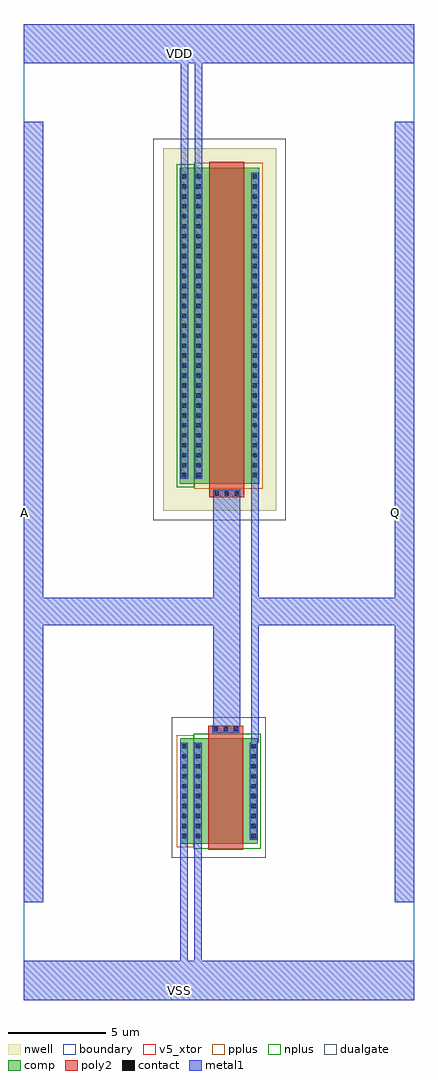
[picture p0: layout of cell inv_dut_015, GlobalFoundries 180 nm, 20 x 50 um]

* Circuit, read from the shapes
.subckt inv_dut_015 A Q VDD VSS
XM1 Q A VSS VSS nfet_05v0 w=5.4u l=1.8u
XM2 Q A VDD VDD pfet_05v0 w=16.2u l=1.8u
.ends

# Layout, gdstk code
from math import pi, radians
import gdstk
lib = gdstk.Library(unit=1e-6, precision=1e-09)
def R(c, l, rs):  # rectangles x0, y0, x1, y1
    for r in rs: c.add(gdstk.rectangle(r[:2], r[2:], *l))
def A(c, l, x, y, w, h, nx, ny, dx, dy):  # array of equal rectangles
    R(c, l, [(x+i*dx, y+j*dy, x+i*dx+w, y+j*dy+h) for i in range(nx) for j in range(ny)])
boundary = (0, 0)
nwell = (21, 0)
comp = (22, 0)
poly2 = (30, 0)
pplus = (31, 0)
nplus = (32, 0)
contact = (33, 0)
metal1 = (34, 0)
dualgate = (55, 0)
v5_xtor = (112, 1)

pfet = lib.new_cell('pfet')
R(pfet, nwell, [(-1.32,-1.37,4.47,17.19)])
R(pfet, comp, [(-0.46,0,3.61,16.2)])
R(pfet, poly2, [(0.31,-0.68,2.11,16.5)])
R(pfet, pplus, [(-0.63,-0.24,2.88,16.44)])
R(pfet, nplus, [(2.88,-0.17,3.78,16.37)])
A(pfet, contact, 0.59, -0.6, 0.22, 0.22, 3, 1, 0.51, 0)
A(pfet, contact, -0.34, 0.34, 0.22, 0.22, 1, 31, 0, 0.51)
A(pfet, contact, 2.54, 0.34, 0.22, 0.22, 1, 31, 0, 0.51)
A(pfet, contact, 3.27, 0.34, 0.22, 0.22, 1, 31, 0, 0.51)
R(pfet, metal1, [(0.51,-0.68,1.91,-0.3), (-0.42,0.26,-0.04,15.94), (2.46,0.26,2.84,15.94), (3.19,0.26,3.57,15.94)])
R(pfet, dualgate, [(-1.82,-1.87,4.97,17.69)])
R(pfet, v5_xtor, [(-1.82,-1.87,4.97,17.69)])

nfet = lib.new_cell('nfet')
R(nfet, comp, [(-0.42,0,3.55,5.4)])
R(nfet, poly2, [(0.31,-0.3,2.11,6.06)])
R(nfet, pplus, [(2.84,-0.17,3.72,5.57)])
R(nfet, nplus, [(-0.59,-0.24,2.84,5.64)])
A(nfet, contact, -0.32, 0.295, 0.22, 0.22, 1, 10, 0, 0.51)
A(nfet, contact, 2.52, 0.295, 0.22, 0.22, 1, 10, 0, 0.51)
A(nfet, contact, 3.23, 0.295, 0.22, 0.22, 1, 10, 0, 0.51)
A(nfet, contact, 0.59, 5.77, 0.22, 0.22, 3, 1, 0.51, 0)
R(nfet, metal1, [(-0.4,0.215,-0.02,5.185), (2.44,0.215,2.82,5.185), (3.15,0.215,3.53,5.185), (0.51,5.69,1.91,6.07)])
R(nfet, dualgate, [(-0.84,-0.71,3.97,6.48)])
R(nfet, v5_xtor, [(-0.84,-0.71,3.97,6.48)])

inv_dut_015 = lib.new_cell('inv_dut_015')
R(inv_dut_015, boundary, [(-10,-25,10,25)])
R(inv_dut_015, metal1, [(-10,-25,10,-23), (-10,-20,-9,20), (9,-20,10,20), (-10,23,10,25)])
inv_dut_015.add(gdstk.FlexPath([(-1.045,17.38),(-1.045,23.01)], 0.38, ends="flush", simple_path=True, layer=34, datatype=0))  # metal1
inv_dut_015.add(gdstk.FlexPath([(-1.075,-16.785),(-1.075,-23)], 0.38, ends="flush", simple_path=True, layer=34, datatype=0))  # metal1
inv_dut_015.add(gdstk.FlexPath([(1.835,1.7),(1.835,-11.815)], 0.38, ends="flush", simple_path=True, layer=34, datatype=0))  # metal1
inv_dut_015.add(gdstk.FlexPath([(2.025,-5.1),(9,-5.1)], 1.4, ends="flush", simple_path=True, layer=34, datatype=0))  # metal1
inv_dut_015.add(gdstk.FlexPath([(0.395,0.76),(0.395,-10.93)], 1.4, ends="flush", simple_path=True, layer=34, datatype=0))  # metal1
inv_dut_015.add(gdstk.FlexPath([(-9,-5.1),(-0.305,-5.1)], 1.4, ends="flush", simple_path=True, layer=34, datatype=0))  # metal1
inv_dut_015.add(gdstk.FlexPath([(-1.785,-16.785),(-1.785,-23)], 0.38, ends="flush", simple_path=True, layer=34, datatype=0))  # metal1
inv_dut_015.add(gdstk.FlexPath([(-1.775,17.38),(-1.775,23.01)], 0.38, ends="flush", simple_path=True, layer=34, datatype=0))  # metal1
inv_dut_015.add(gdstk.Reference(pfet, (1.605,1.44), rotation=pi, x_reflection=True))
inv_dut_015.add(gdstk.Reference(nfet, (1.555,-17), rotation=pi, x_reflection=True))
inv_dut_015.add(gdstk.Label('VDD', (-2,23.5), layer=34, texttype=10))
inv_dut_015.add(gdstk.Label('VSS', (-2,-24.5), layer=34, texttype=10))
inv_dut_015.add(gdstk.Label('A', (-9.97,0), layer=34, texttype=10))
inv_dut_015.add(gdstk.Label('Q', (9.03,0), layer=34, texttype=10))

lib.write_gds('inv_dut_015.gds')
